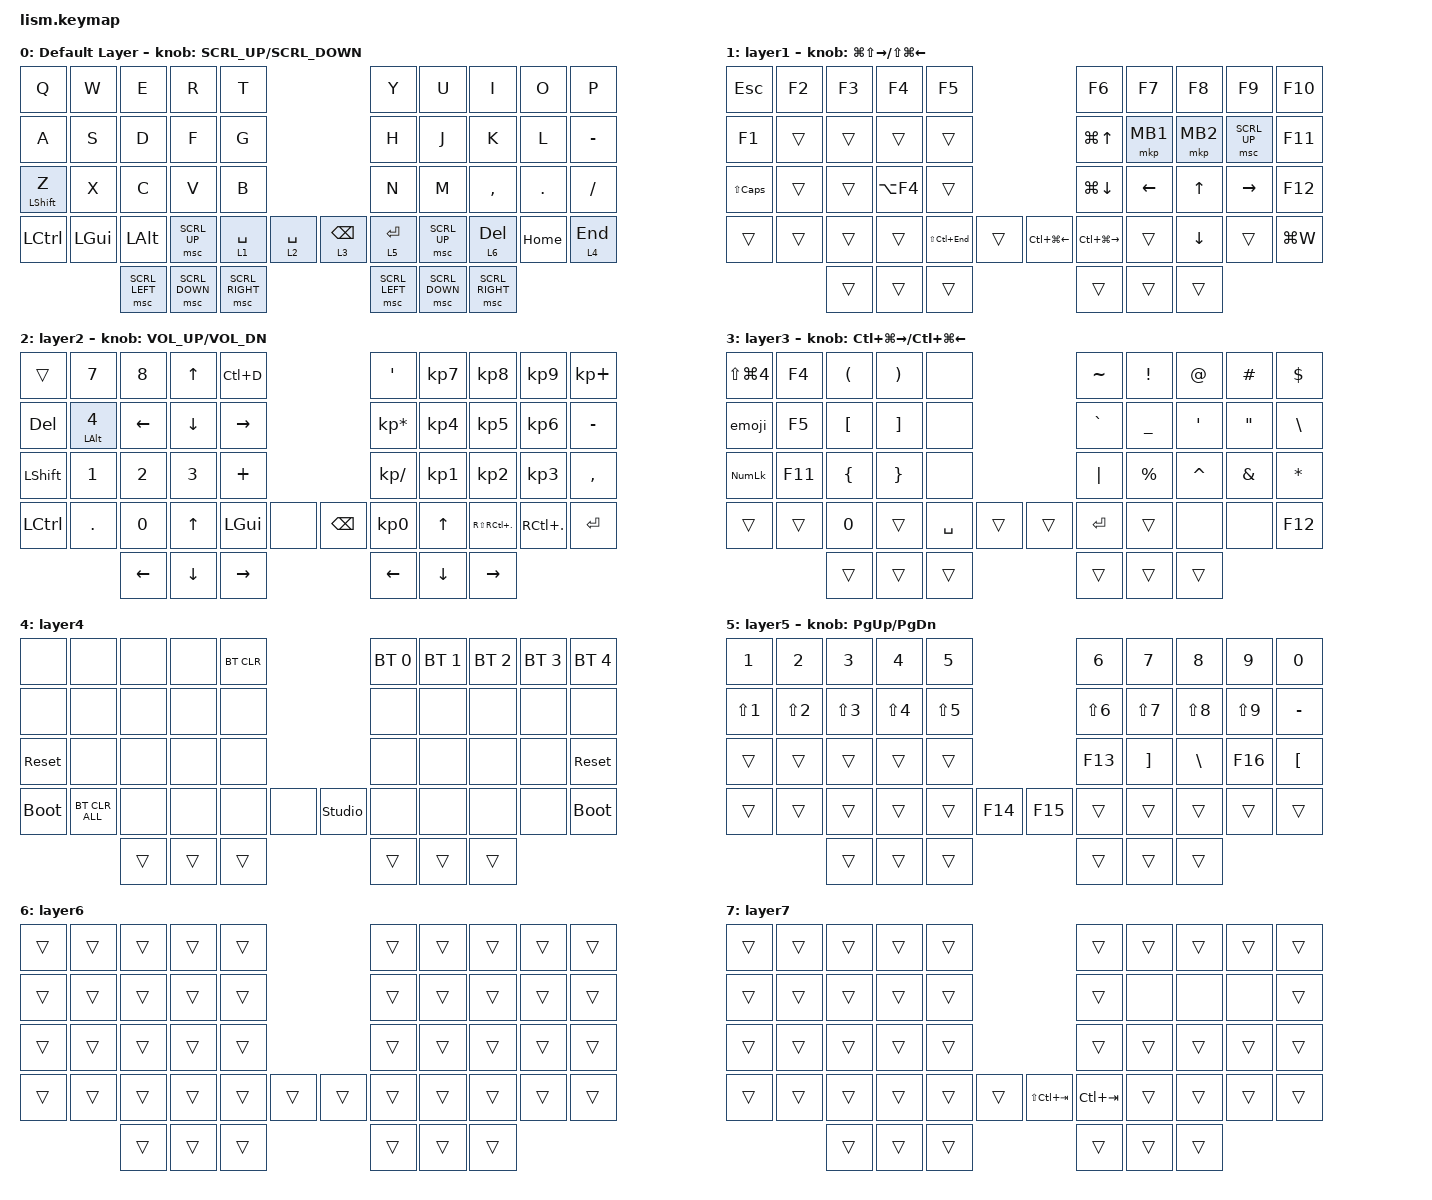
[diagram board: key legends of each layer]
#define ZMK_POINTING_DEFAULT_SCRL_VAL 200

#include <dt-bindings/zmk/mouse.h>
#include <behaviors.dtsi>
#include <dt-bindings/zmk/bt.h>
#include <dt-bindings/zmk/keys.h>
#include <dt-bindings/zmk/pointing.h>

&mt {
    tapping-term-ms = <300>;
    flavor = "balanced";
};

&lt { quick-tap-ms = <300>; };

/ {
    macros {
        emoji: emoji_macro {
            compatible = "zmk,behavior-macro";
            label = "EMOJI";
            #binding-cells = <0>;
            bindings =
                <&macro_press>,
                <&kp CAPSLOCK>,
                <&macro_tap>,
                <&kp E>,
                <&macro_release>,
                <&kp CAPSLOCK>;
        };
    };

    behaviors {
        encoder_msc: sensor_rotate_msc {
            compatible = "zmk,behavior-sensor-rotate-var";
            #sensor-binding-cells = <2>;
            bindings = <&msc>, <&msc>;

            tap-ms = <20>;
        };

        encoder_kp: sensor_rotate_kp {
            compatible = "zmk,behavior-sensor-rotate-var";
            #sensor-binding-cells = <2>;
            bindings = <&kp>, <&kp>;
        };
    };

    combos {
        compatible = "zmk,combos";

        mb1 {
            bindings = <&mkp MB1>;
            key-positions = <16 17>;
        };

        mb2 {
            bindings = <&mkp MB2>;
            key-positions = <16 18>;
        };

        mb3 {
            bindings = <&mkp MB3>;
            key-positions = <16 7>;
        };

        close {
            bindings = <&kp LC(W)>;
            key-positions = <26 27>;
        };

        mb4 {
            bindings = <&mkp MB4>;
            key-positions = <16 17 18 19>;
        };

        mo7 {
            bindings = <&mo 7>;
            key-positions = <16 17 18>;
        };

        mo7l {
            bindings = <&mo 7>;
            key-positions = <11 12 13>;
        };

        grave {
            bindings = <&kp GRAVE>;
            key-positions = <0 1>;
        };

        tab {
            bindings = <&kp TAB>;
            key-positions = <10 11>;
        };
    };

    keymap {
        compatible = "zmk,keymap";

        default_layer {
            display-name = "Default Layer";
            bindings = <
&kp Q             &kp W         &kp E           &kp R           &kp T                                            &kp Y           &kp U           &kp I            &kp O     &kp P
&kp A             &kp S         &kp D           &kp F           &kp G                                            &kp H           &kp J           &kp K            &kp L     &kp MINUS
&mt LEFT_SHIFT Z  &kp X         &kp C           &kp V           &kp B                                            &kp N           &kp M           &kp COMMA        &kp DOT   &kp SLASH
&kp LCTRL         &kp LEFT_GUI  &kp LALT        &msc SCRL_UP    &lt 1 SPACE      &lt 2 SPACE    &lt 3 BACKSPACE  &lt 5 ENTER     &msc SCRL_UP    &lt 6 DELETE     &kp HOME  &lt 4 END
                                &msc SCRL_LEFT  &msc SCRL_DOWN  &msc SCRL_RIGHT                                  &msc SCRL_LEFT  &msc SCRL_DOWN  &msc SCRL_RIGHT
            >;

            sensor-bindings = <&encoder_msc SCRL_UP SCRL_DOWN>;
        };

        layer_1 {
            display-name = "layer1";
            bindings = <
&kp ESCAPE    &kp F2  &kp F3  &kp F4      &kp F5                                             &kp F6                   &kp F7    &kp F8    &kp F9        &kp F10
&kp F1        &trans  &trans  &trans      &trans                                             &kp LG(UP)               &mkp MB1  &mkp MB2  &msc SCRL_UP  &kp F11
&kp LS(CAPS)  &trans  &trans  &kp LA(F4)  &trans                                             &kp LG(DOWN)             &kp LEFT  &kp UP    &kp RIGHT     &kp F12
&trans        &trans  &trans  &trans      &kp LS(LC(END))  &trans    &kp LC(LG(LEFT_ARROW))  &kp LC(LG(RIGHT_ARROW))  &trans    &kp DOWN  &trans        &kp LG(W)
                      &trans  &trans      &trans                                             &trans                   &trans    &trans
            >;

            sensor-bindings = <&inc_dec_kp LG(LS(RIGHT_ARROW)) LS(LG(LEFT_ARROW))>;
        };

        layer_2 {
            display-name = "layer2";
            bindings = <
&trans          &kp NUMBER_7       &kp NUMBER_8    &kp UP_ARROW    &kp LC(D)                                &kp SINGLE_QUOTE  &kp KP_NUMBER_7  &kp KP_NUMBER_8  &kp KP_NUMBER_9  &kp KP_PLUS
&kp DELETE      &mt LALT NUMBER_4  &kp LEFT_ARROW  &kp DOWN_ARROW  &kp RIGHT_ARROW                          &kp KP_ASTERISK   &kp KP_NUMBER_4  &kp KP_NUMBER_5  &kp KP_NUMBER_6  &kp MINUS
&kp LEFT_SHIFT  &kp NUMBER_1       &kp NUMBER_2    &kp NUMBER_3    &kp PLUS                                 &kp KP_SLASH      &kp KP_NUMBER_1  &kp KP_NUMBER_2  &kp KP_NUMBER_3  &kp COMMA
&kp LCTRL       &kp DOT            &kp NUMBER_0    &kp UP          &kp LEFT_GUI     &none    &kp BACKSPACE  &kp KP_NUMBER_0   &kp UP           &kp RS(RC(DOT))  &kp RC(DOT)      &kp ENTER
                                   &kp LEFT        &kp DOWN        &kp RIGHT                                &kp LEFT          &kp DOWN         &kp RIGHT
            >;

            sensor-bindings = <&encoder_kp C_VOL_UP C_VOL_DN>;
        };

        layer_3 {
            display-name = "layer3";
            bindings = <
&kp LS(LG(N4))  &kp F4   &kp LEFT_PARENTHESIS  &kp RIGHT_PARENTHESIS  &none                        &kp TILDE  &kp EXCLAMATION  &kp AT_SIGN       &kp HASH           &kp DOLLAR
&emoji          &kp F5   &kp LEFT_BRACKET      &kp RIGHT_BRACKET      &none                        &kp GRAVE  &kp UNDER        &kp SINGLE_QUOTE  &kp DOUBLE_QUOTES  &kp BACKSLASH
&kp KP_NUMLOCK  &kp F11  &kp LEFT_BRACE        &kp RIGHT_BRACE        &none                        &kp PIPE   &kp PERCENT      &kp CARET         &kp AMPERSAND      &kp ASTERISK
&trans          &trans   &kp NUMBER_0          &trans                 &kp SPACE  &trans    &trans  &kp ENTER  &trans           &none             &none              &kp F12
                         &trans                &trans                 &trans                       &trans     &trans           &trans
            >;

            sensor-bindings = <&inc_dec_kp LC(LG(RIGHT_ARROW)) LC(LG(LEFT_ARROW))>;
        };

        layer_4 {
            display-name = "layer4";
            bindings = <
&none        &none           &none   &none   &bt BT_CLR                           &bt BT_SEL 0  &bt BT_SEL 1  &bt BT_SEL 2  &bt BT_SEL 3  &bt BT_SEL 4
&none        &none           &none   &none   &none                                &none         &none         &none         &none         &none
&sys_reset   &none           &none   &none   &none                                &none         &none         &none         &none         &sys_reset
&bootloader  &bt BT_CLR_ALL  &none   &none   &none       &none    &studio_unlock  &none         &none         &none         &none         &bootloader
                             &trans  &trans  &trans                               &trans        &trans        &trans
            >;
        };

        layer_5 {
            display-name = "layer5";
            bindings = <
&kp NUMBER_1      &kp NUMBER_2      &kp NUMBER_3      &kp NUMBER_4      &kp NUMBER_5                          &kp NUMBER_6      &kp NUMBER_7       &kp NUMBER_8      &kp NUMBER_9      &kp NUMBER_0
&kp LS(NUMBER_1)  &kp LS(NUMBER_2)  &kp LS(NUMBER_3)  &kp LS(NUMBER_4)  &kp LS(NUMBER_5)                      &kp LS(NUMBER_6)  &kp LS(NUMBER_7)   &kp LS(NUMBER_8)  &kp LS(NUMBER_9)  &kp MINUS
&trans            &trans            &trans            &trans            &trans                                &kp F13           &kp RIGHT_BRACKET  &kp BACKSLASH     &kp F16           &kp LEFT_BRACKET
&trans            &trans            &trans            &trans            &trans            &kp F14    &kp F15  &trans            &trans             &trans            &trans            &trans
                                    &trans            &trans            &trans                                &trans            &trans             &trans
            >;

            sensor-bindings = <&inc_dec_kp PAGE_UP PAGE_DOWN>;
        };

        layer_6 {
            display-name = "layer6";
            bindings = <
&trans  &trans  &trans  &trans  &trans                    &trans  &trans  &trans  &trans  &trans
&trans  &trans  &trans  &trans  &trans                    &trans  &trans  &trans  &trans  &trans
&trans  &trans  &trans  &trans  &trans                    &trans  &trans  &trans  &trans  &trans
&trans  &trans  &trans  &trans  &trans  &trans    &trans  &trans  &trans  &trans  &trans  &trans
                &trans  &trans  &trans                    &trans  &trans  &trans
            >;
        };

        layer_7 {
            display-name = "layer7";
            bindings = <
&trans  &trans  &trans  &trans  &trans                             &trans       &trans  &trans  &trans  &trans
&trans  &trans  &trans  &trans  &trans                             &trans       &none   &none   &none   &trans
&trans  &trans  &trans  &trans  &trans                             &trans       &trans  &trans  &trans  &trans
&trans  &trans  &trans  &trans  &trans  &trans    &kp LS(LC(TAB))  &kp LC(TAB)  &trans  &trans  &trans  &trans
                &trans  &trans  &trans                             &trans       &trans  &trans
            >;
        };
    };
};
